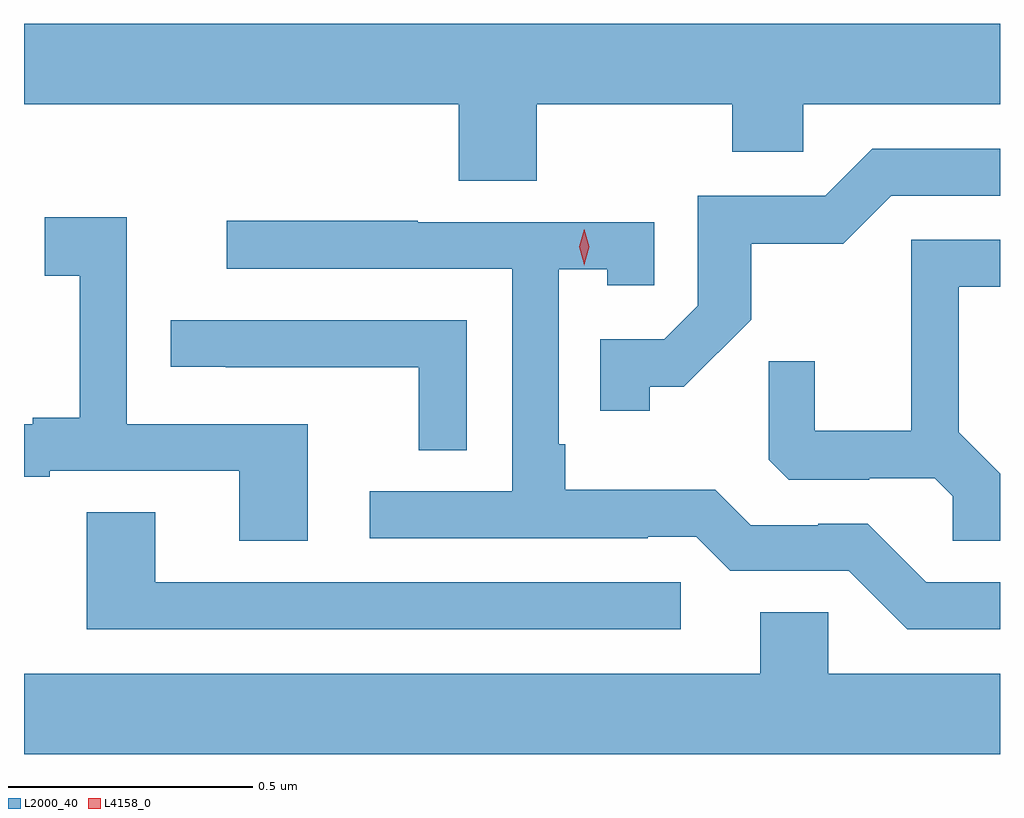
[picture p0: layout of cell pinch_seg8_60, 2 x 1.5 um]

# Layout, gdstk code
import gdstk
lib = gdstk.Library(unit=1e-6, precision=1e-09)
def P(c, l, *ps):  # polygons
    for p in ps: c.add(gdstk.Polygon(p, *l))
L2000_40 = (2000, 40)
L4158_0 = (4158, 0)

pinch_seg8_60 = lib.new_cell('pinch_seg8_60')
P(pinch_seg8_60, L2000_40, [(900.669,1120.496),(901.069,1120.496),(901.069,1120.398),(901.215,1120.398),(901.215,1120.496),(901.618,1120.496),(901.618,1120.66),(899.618,1120.66),(899.618,1120.496),(900.509,1120.496),(900.509,1120.339),(900.669,1120.339)],
  [(900.9,1119.917),(900.97,1119.917),(901.108,1120.054),(901.108,1120.21),(901.297,1120.21),(901.395,1120.308),(901.618,1120.308),(901.618,1120.404),(901.356,1120.404),(901.26,1120.308),(900.999,1120.308),(900.999,1120.083),(900.93,1120.014),(900.799,1120.014),(900.799,1119.867),(900.9,1119.867)],
  [(900.199,1119.84),(899.829,1119.84),(899.829,1120.264),(899.661,1120.264),(899.661,1120.144),(899.732,1120.144),(899.732,1119.853),(899.636,1119.853),(899.636,1119.84),(899.618,1119.84),(899.618,1119.732),(899.671,1119.732),(899.671,1119.744),(900.059,1119.744),(900.059,1119.601),(900.199,1119.601)],
  [(901.618,1119.516),(901.467,1119.516),(901.347,1119.636),(901.246,1119.636),(901.246,1119.633),(901.107,1119.633),(901.034,1119.706),(900.727,1119.706),(900.727,1119.799),(900.714,1119.799),(900.714,1120.157),(900.813,1120.157),(900.813,1120.125),(900.909,1120.125),(900.909,1120.254),(900.425,1120.254),(900.425,1120.257),(900.033,1120.257),(900.033,1120.158),(900.618,1120.158),(900.618,1119.702),(900.327,1119.702),(900.327,1119.606),(900.896,1119.606),(900.896,1119.609),(900.996,1119.609),(901.065,1119.54),(901.308,1119.54),(901.428,1119.42),(901.618,1119.42)],
  [(901.618,1119.738),(901.533,1119.823),(901.533,1120.122),(901.618,1120.122),(901.618,1120.218),(901.436,1120.218),(901.436,1119.826),(901.238,1119.826),(901.238,1119.969),(901.144,1119.969),(901.144,1119.767),(901.185,1119.726),(901.35,1119.726),(901.35,1119.729),(901.484,1119.729),(901.521,1119.692),(901.521,1119.601),(901.618,1119.601)],
  [(900.525,1120.053),(899.919,1120.053),(899.919,1119.958),(900.031,1119.958),(900.031,1119.957),(900.427,1119.957),(900.427,1119.787),(900.525,1119.787)],
  [(900.964,1119.516),(899.887,1119.516),(899.887,1119.659),(899.747,1119.659),(899.747,1119.42),(900.964,1119.42)],
  [(901.618,1119.328),(901.266,1119.328),(901.266,1119.455),(901.127,1119.455),(901.127,1119.328),(899.618,1119.328),(899.618,1119.164),(901.618,1119.164)])
P(pinch_seg8_60, L4158_0, [(900.766,1120.166),(900.766,1120.167),(900.756,1120.203),(900.766,1120.239),(900.766,1120.239),(900.766,1120.239),(900.776,1120.203),(900.766,1120.167)])

lib.write_gds('pinch_seg8_60.gds')
